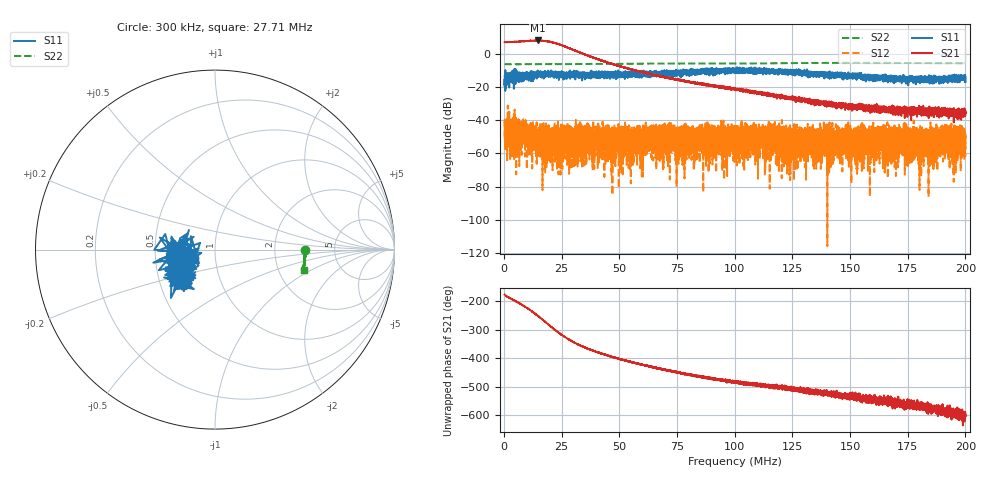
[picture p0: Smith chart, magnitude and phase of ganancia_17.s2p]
# Hz S DB R 50
! CMT, M5065, 19127446, 24.2.4/2
! Date: 11/8/2024 2:53:10 PM
! Data: Format (Calibration Info)
! Freq	S11:dB/Ang(F2)	S21:dB/Ang(F2)	S12:dB/Ang(F2)	S22:dB/Ang(F2)
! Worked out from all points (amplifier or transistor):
!   9000 points, 300 kHz to 200 MHz, reference 50 ohm
!   highest |S21| = 8.4 dB at 14.72 MHz (marker M1)
!   |S21| within 3 dB of that: start of sweep to 25.13 MHz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
!   unconditionally stable (mu >= 1): start of sweep to end of sweep
!   at 33.59 MHz: K = 59.39, MAG = 2.4 dB, |S12| = -45.5 dB
!   at 100.2 MHz: K = 689.65, MAG = -19.1 dB, |S12| = -45.6 dB
!   at 200 MHz: K = 15181.04, MAG = -33.7 dB, |S12| = -57.5 dB
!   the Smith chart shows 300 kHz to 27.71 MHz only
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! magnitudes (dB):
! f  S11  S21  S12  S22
! 300 kHz  -18.1  7.4  -39.3  -6.0
! 6.092 MHz  -15.9  7.7  -50.8  -6.0
! 8.466 MHz  -16.1  7.9  -53.5  -6.0
! 14.72 MHz  -12.4  8.4  -53.4  -6.0
! 18.76 MHz  -12.2  7.8  -50.0  -6.0
! 33.59 MHz  -11.5  0.7  -45.5  -5.9
! 46.44 MHz  -12.8  -5.7  -45.5  -5.8
! 53.27 MHz  -11.7  -8.4  -48.2  -5.7
! 55.29 MHz  -12.0  -9.1  -47.3  -5.7
! 57.2 MHz  -11.9  -9.8  -47.1  -5.7
! 66.87 MHz  -11.9  -13.1  -44.1  -5.6
! 100.2 MHz  -9.6  -21.0  -45.6  -5.6
! 113.3 MHz  -10.6  -24.5  -60.8  -5.5
! 119.2 MHz  -10.5  -25.1  -70.6  -5.4
! 123.4 MHz  -10.7  -26.2  -61.1  -5.4
! 133.4 MHz  -12.2  -28.2  -49.0  -5.3
! 166.7 MHz  -14.8  -32.1  -59.4  -5.2
! 183 MHz  -16.7  -35.6  -56.9  -5.3
! 191.7 MHz  -14.0  -32.9  -43.1  -5.3
! 194.1 MHz  -14.9  -35.8  -62.3  -5.4
! 198.4 MHz  -12.6  -33.1  -61.6  -5.3
! 200 MHz  -16.6  -35.3  -57.5  -5.4
